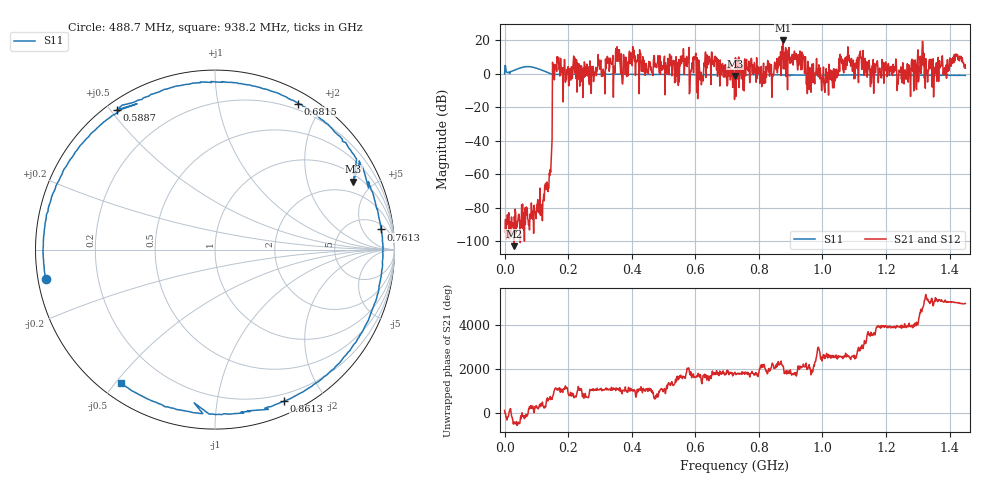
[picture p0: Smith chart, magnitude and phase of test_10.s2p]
! Created with skrf 1.11.0 (http://scikit-rf.org).
# Hz S RI R 50.0
!freq ReS11 ImS11 ReS21 ImS21 ReS12 ImS12 ReS22 ImS22
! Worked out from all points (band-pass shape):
!   1001 points, 50 kHz to 1.45 GHz, reference 50 ohm
!   highest |S21| = 19.87 dB at 875.8 MHz (marker M1); lowest = -102.8 dB at 29.05 MHz (marker M2)
!   |S21| within 3 dB of the highest: 875.0069 MHz to 876.0774 MHz (1.071 MHz wide, 0.122 % of centre); 1.314464 GHz to 1.316281 GHz (1.817 MHz wide, 0.138 % of centre)
!   lowest |S11| = -1.3 dB at 725 MHz (marker M3), VSWR 13.13, Z = 67.2 + j193 ohm
!   |S11| at or under -10 dB: nowhere
!   |S22| runs from - to - dB; largest |S21 - S12| = 0
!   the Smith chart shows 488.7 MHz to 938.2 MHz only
!   S11 on the Smith chart (normalised r, x): 488.7 MHz: 0.02, -0.09; 588.7 MHz: 0.03, +0.52; 681.5 MHz: 0.13, +1.71; 761.3 MHz: 7, +12; 861.3 MHz: 0.13, -1.54; 938.2 MHz: 0.06, -0.52
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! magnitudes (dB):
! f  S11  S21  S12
! 50 kHz  -0.1  -93.8  -93.8
! 29.05 MHz  2.0  -102.8  -102.8
! 113.1 MHz  2.5  -84.5  -84.5
! 137.8 MHz  0.5  -67.8  -67.8
! 142.1 MHz  0.2  -60.8  -60.8
! 158.1 MHz  -0.3  5.6  5.6
! 242.2 MHz  -0.3  4.6  4.6
! 356.7 MHz  -0.3  7.4  7.4
! 484.3 MHz  -0.4  8.1  8.1
! 488.7 MHz  -0.4  10.8  10.8
! 588.7 MHz  -0.4  3.3  3.3
! 681.5 MHz  -0.6  -0.6  -0.6
! 725 MHz  -1.3  -2.4  -2.4
! 761.3 MHz  -0.6  8.6  8.6
! 861.3 MHz  -0.6  3.6  3.6
! 875.8 MHz  -0.8  19.9  19.9
! 938.2 MHz  -0.8  11.5  11.5
! 967.2 MHz  -0.8  5.7  5.7
! 1.038 GHz  -0.8  2.7  2.7
! 1.083 GHz  -0.7  11.2  11.2
! 1.209 GHz  -0.7  3.5  3.5
! 1.45 GHz  -1.0  3.3  3.3
